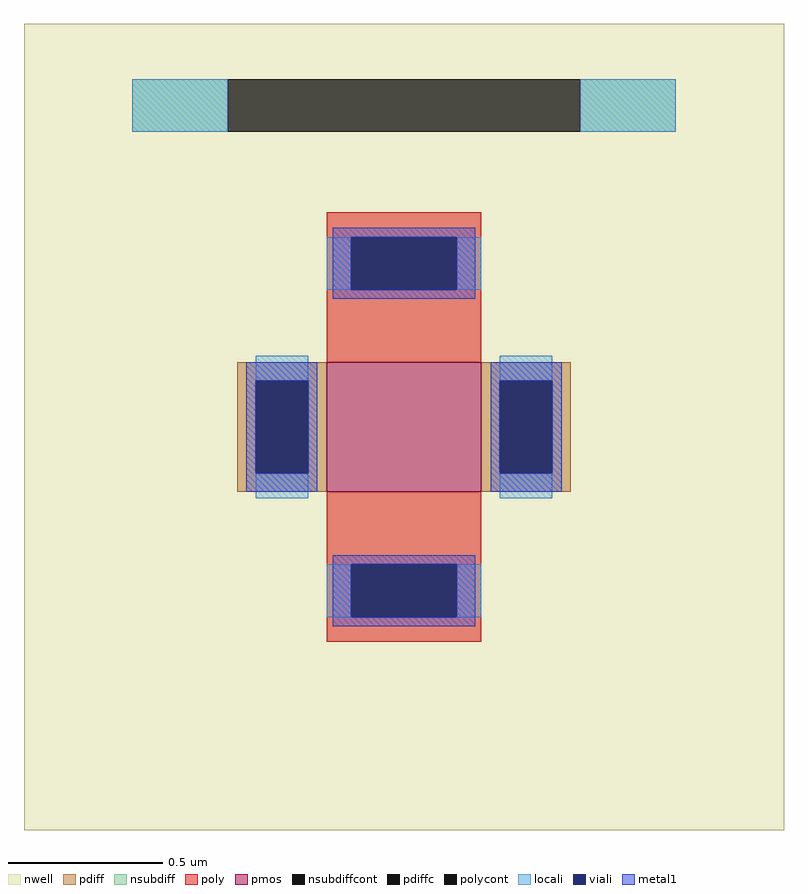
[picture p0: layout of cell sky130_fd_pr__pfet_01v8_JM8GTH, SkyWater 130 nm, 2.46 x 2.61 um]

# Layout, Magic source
magic
tech sky130A
magscale 1 2
<< nwell >>
rect -246 -261 246 261
<< pmos >>
rect -50 -42 50 42
<< pdiff >>
rect -108 30 -50 42
rect -108 -30 -96 30
rect -62 -30 -50 30
rect -108 -42 -50 -30
rect 50 30 108 42
rect 50 -30 62 30
rect 96 -30 108 30
rect 50 -42 108 -30
<< pdiffc >>
rect -96 -30 -62 30
rect 62 -30 96 30
<< nsubdiff >>
rect -176 191 -114 225
rect 114 191 176 225
<< nsubdiffcont >>
rect -114 191 114 225
<< poly >>
rect -50 123 50 139
rect -50 89 -34 123
rect 34 89 50 123
rect -50 42 50 89
rect -50 -89 50 -42
rect -50 -123 -34 -89
rect 34 -123 50 -89
rect -50 -139 50 -123
<< polycont >>
rect -34 89 34 123
rect -34 -123 34 -89
<< locali >>
rect -176 191 -114 225
rect 114 191 176 225
rect -50 89 -34 123
rect 34 89 50 123
rect -96 30 -62 46
rect -96 -46 -62 -30
rect 62 30 96 46
rect 62 -46 96 -30
rect -50 -123 -34 -89
rect 34 -123 50 -89
<< viali >>
rect -34 89 34 123
rect -96 -30 -62 30
rect 62 -30 96 30
rect -34 -123 34 -89
<< metal1 >>
rect -46 123 46 129
rect -46 89 -34 123
rect 34 89 46 123
rect -46 83 46 89
rect -102 30 -56 42
rect -102 -30 -96 30
rect -62 -30 -56 30
rect -102 -42 -56 -30
rect 56 30 102 42
rect 56 -30 62 30
rect 96 -30 102 30
rect 56 -42 102 -30
rect -46 -89 46 -83
rect -46 -123 -34 -89
rect 34 -123 46 -89
rect -46 -129 46 -123
<< properties >>
string FIXED_BBOX -193 -208 193 208
string gencell sky130_fd_pr__pfet_01v8
string library sky130
string parameters w 0.42 l 0.5 m 1 nf 1 diffcov 100 polycov 100 guard 1 glc 1 grc 1 gtc 1 gbc 1 tbcov 100 rlcov 100 topc 1 botc 1 poverlap 0 doverlap 1 lmin 0.15 wmin 0.42 compatible {sky130_fd_pr__pfet_01v8  sky130_fd_pr__pfet_01v8_lvt sky130_fd_pr__pfet_01v8_hvt  sky130_fd_pr__pfet_g5v0d10v5} full_metal 1 viasrc 100 viadrn 100 viagate 100 viagb 0 viagr 0 viagl 0 viagt 0
<< end >>
